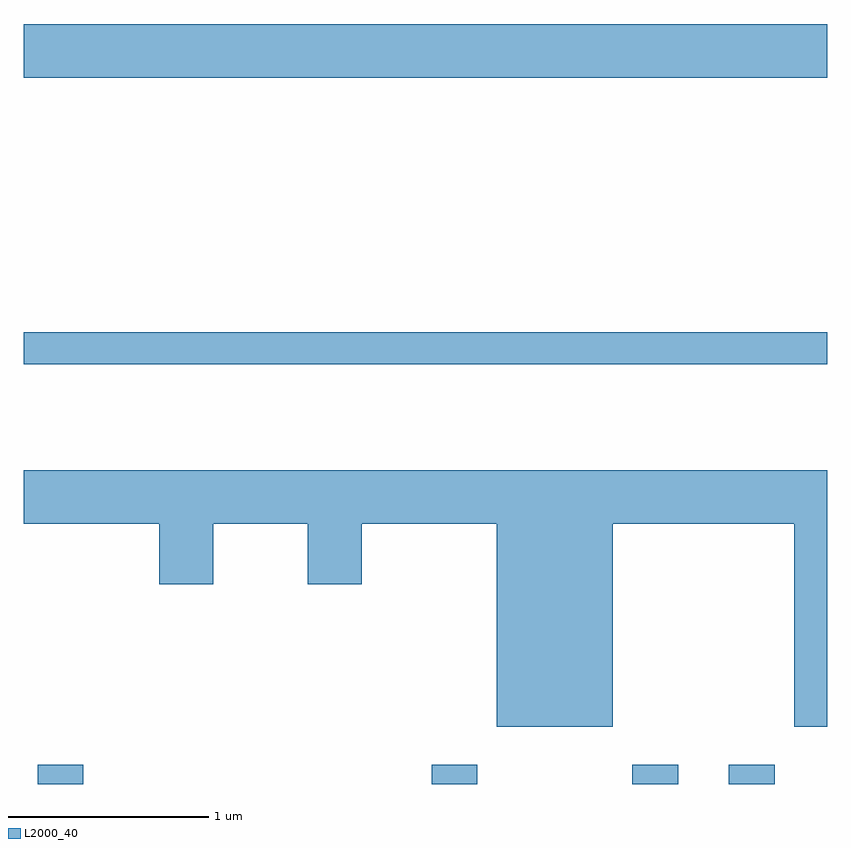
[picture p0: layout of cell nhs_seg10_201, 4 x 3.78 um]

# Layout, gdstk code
import gdstk
lib = gdstk.Library(unit=1e-6, precision=1e-09)
def R(c, l, rs):  # rectangles x0, y0, x1, y1
    for r in rs: c.add(gdstk.rectangle(r[:2], r[2:], *l))
def P(c, l, *ps):  # polygons
    for p in ps: c.add(gdstk.Polygon(p, *l))
L2000_40 = (2000, 40)

nhs_seg10_201 = lib.new_cell('nhs_seg10_201')
R(nhs_seg10_201, L2000_40, [(189.681,2212.522,189.909,2212.619), (191.641,2212.522,191.869,2212.619), (192.641,2212.522,192.869,2212.619), (193.121,2212.522,193.349,2212.619), (189.611,2214.611,193.611,2214.769), (189.611,2216.036,193.611,2216.304)])
P(nhs_seg10_201, L2000_40, [(192.544,2213.816),(193.446,2213.816),(193.446,2212.806),(193.611,2212.806),(193.611,2214.084),(189.611,2214.084),(189.611,2213.816),(190.286,2213.816),(190.286,2213.516),(190.554,2213.516),(190.554,2213.816),(191.026,2213.816),(191.026,2213.516),(191.294,2213.516),(191.294,2213.816),(191.966,2213.816),(191.966,2212.806),(192.544,2212.806)])

lib.write_gds('nhs_seg10_201.gds')
